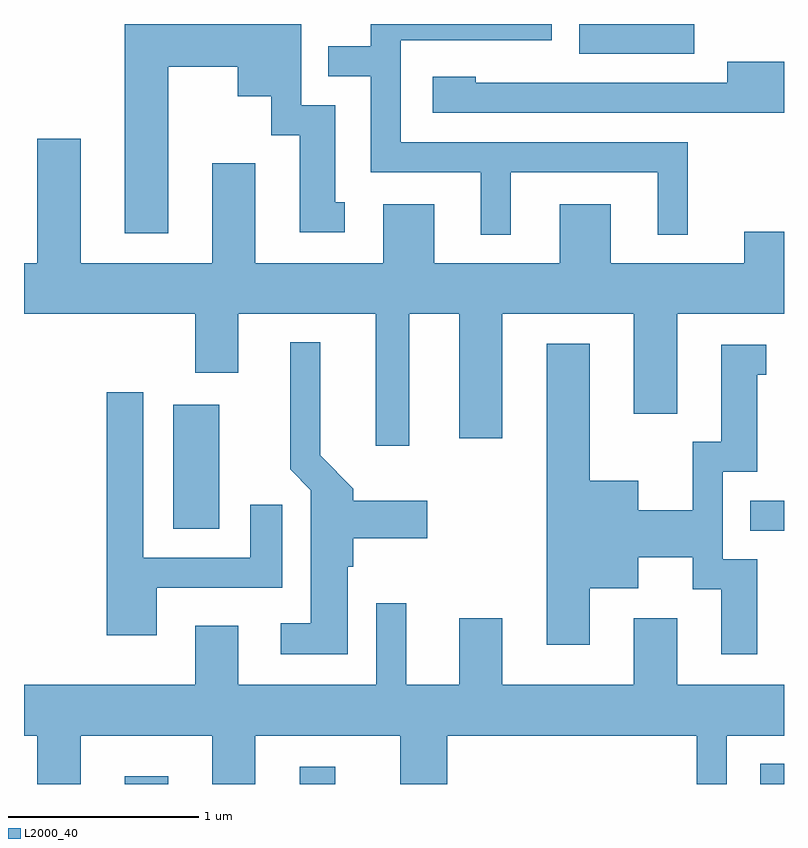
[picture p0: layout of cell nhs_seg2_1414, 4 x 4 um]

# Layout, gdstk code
import gdstk
lib = gdstk.Library(unit=1e-6, precision=1e-09)
def R(c, l, rs):  # rectangles x0, y0, x1, y1
    for r in rs: c.add(gdstk.rectangle(r[:2], r[2:], *l))
def P(c, l, *ps):  # polygons
    for p in ps: c.add(gdstk.Polygon(p, *l))
L2000_40 = (2000, 40)

nhs_seg2_1414 = lib.new_cell('nhs_seg2_1414')
R(nhs_seg2_1414, L2000_40, [(226.141,1085.802,226.369,1085.844), (227.061,1085.802,227.249,1085.894), (229.486,1085.802,229.611,1085.908), (229.433,1087.136,229.611,1087.294), (226.396,1087.146,226.639,1087.799), (228.533,1089.646,229.139,1089.802)])
P(nhs_seg2_1414, L2000_40, [(226.369,1089.576),(226.736,1089.576),(226.736,1089.421),(226.911,1089.421),(226.911,1089.216),(227.061,1089.216),(227.061,1088.706),(227.298,1088.706),(227.298,1088.864),(227.249,1088.864),(227.249,1089.374),(227.069,1089.374),(227.069,1089.802),(226.141,1089.802),(226.141,1088.701),(226.369,1088.701)],
  [(228.174,1089.021),(228.946,1089.021),(228.946,1088.693),(229.104,1088.693),(229.104,1089.179),(227.594,1089.179),(227.594,1089.716),(228.389,1089.716),(228.389,1089.802),(227.436,1089.802),(227.436,1089.684),(227.213,1089.684),(227.213,1089.526),(227.436,1089.526),(227.436,1089.021),(228.016,1089.021),(228.016,1088.693),(228.174,1088.693)],
  [(229.611,1089.604),(229.311,1089.604),(229.311,1089.494),(227.989,1089.494),(227.989,1089.524),(227.761,1089.524),(227.761,1089.336),(229.611,1089.336)],
  [(228.699,1088.854),(228.431,1088.854),(228.431,1088.544),(227.769,1088.544),(227.769,1088.854),(227.501,1088.854),(227.501,1088.544),(226.829,1088.544),(226.829,1089.069),(226.601,1089.069),(226.601,1088.544),(225.909,1088.544),(225.909,1089.199),(225.681,1089.199),(225.681,1088.544),(225.611,1088.544),(225.611,1088.276),(226.511,1088.276),(226.511,1087.966),(226.739,1087.966),(226.739,1088.276),(227.461,1088.276),(227.461,1087.581),(227.639,1087.581),(227.639,1088.276),(227.901,1088.276),(227.901,1087.621),(228.129,1087.621),(228.129,1088.276),(228.821,1088.276),(228.821,1087.751),(229.049,1087.751),(229.049,1088.276),(229.611,1088.276),(229.611,1088.709),(229.401,1088.709),(229.401,1088.544),(228.699,1088.544)],
  [(227.314,1086.946),(227.344,1086.946),(227.344,1087.096),(227.734,1087.096),(227.734,1087.294),(227.344,1087.294),(227.344,1087.357),(227.169,1087.532),(227.169,1088.128),(227.011,1088.128),(227.011,1087.459),(227.121,1087.349),(227.121,1086.649),(226.963,1086.649),(226.963,1086.486),(227.314,1086.486)],
  [(229.469,1086.984),(229.289,1086.984),(229.289,1087.446),(229.469,1087.446),(229.469,1087.956),(229.518,1087.956),(229.518,1088.114),(229.281,1088.114),(229.281,1087.604),(229.131,1087.604),(229.131,1087.244),(228.844,1087.244),(228.844,1087.399),(228.589,1087.399),(228.589,1088.119),(228.361,1088.119),(228.361,1086.536),(228.589,1086.536),(228.589,1086.831),(228.844,1086.831),(228.844,1086.996),(229.131,1086.996),(229.131,1086.826),(229.281,1086.826),(229.281,1086.486),(229.469,1086.486)],
  [(226.309,1086.836),(226.969,1086.836),(226.969,1087.273),(226.801,1087.273),(226.801,1086.994),(226.239,1086.994),(226.239,1087.864),(226.046,1087.864),(226.046,1086.586),(226.309,1086.586)],
  [(225.909,1086.056),(226.601,1086.056),(226.601,1085.802),(226.829,1085.802),(226.829,1086.056),(227.591,1086.056),(227.591,1085.802),(227.839,1085.802),(227.839,1086.056),(229.151,1086.056),(229.151,1085.802),(229.309,1085.802),(229.309,1086.056),(229.611,1086.056),(229.611,1086.324),(229.049,1086.324),(229.049,1086.674),(228.821,1086.674),(228.821,1086.324),(228.129,1086.324),(228.129,1086.674),(227.901,1086.674),(227.901,1086.324),(227.624,1086.324),(227.624,1086.753),(227.466,1086.753),(227.466,1086.324),(226.739,1086.324),(226.739,1086.634),(226.511,1086.634),(226.511,1086.324),(225.611,1086.324),(225.611,1086.056),(225.681,1086.056),(225.681,1085.802),(225.909,1085.802)])

lib.write_gds('nhs_seg2_1414.gds')
